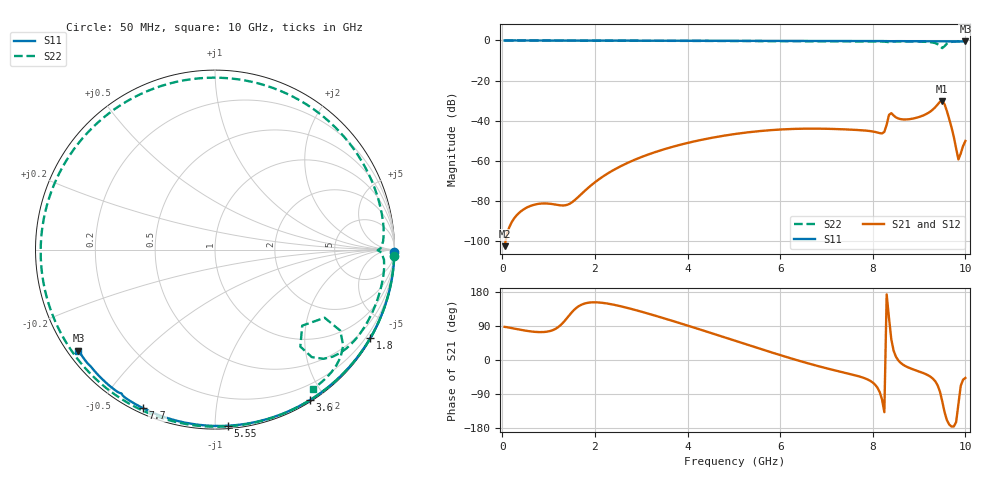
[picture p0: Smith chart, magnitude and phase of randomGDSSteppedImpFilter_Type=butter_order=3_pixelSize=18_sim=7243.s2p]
! freq	dB(S11)	phase(S11)	dB(S12)	phase(S12)
!  dB(S21)	phase(S21)	dB(S22)	phase(S22)
!S-par simulation data
#  GHz  S  DB  R 50
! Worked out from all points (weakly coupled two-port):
!   200 points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, 50 MHz to 10 GHz, reference 50 ohm
!   highest |S21| = -30.11 dB at 9.5 GHz (marker M1); lowest = -102.5 dB at 50 MHz (marker M2)
!   lowest |S11| = -0.5 dB at 10 GHz (marker M3), VSWR 36.13, Z = 1.53 - j16.5 ohm
!   |S11| at or under -10 dB: nowhere
!   |S22| runs from -3.8 to 0.0 dB; largest |S21 - S12| = 0
!   S11 on the Smith chart (normalised r, x): 50 MHz: open; 1.8 GHz: 0.03, -3.79; 3.6 GHz: 0.02, -1.82; 5.55 GHz: 0.02, -1.08; 7.7 GHz: 0.02, -0.64; 10 GHz: 0.03, -0.33
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0.05  -0.00 -0.8  -102.51 87.4  -102.51 87.4  -0.01 -2.0
1.5  -0.03 -24.7  -80.73 125.8  -80.73 125.8  -0.07 -58.8
1.75  -0.04 -28.7  -75.61 147.9  -75.61 147.9  -0.09 -68.5
1.8  -0.04 -29.5  -74.55 149.8  -74.55 149.8  -0.09 -70.4
2.6  -0.05 -42.2  -62.17 140.6  -62.17 140.6  -0.13 -101.1
3.4  -0.07 -54.6  -54.90 113.4  -54.90 113.4  -0.17 -132.2
3.6  -0.08 -57.6  -53.50 106.1  -53.50 106.1  -0.19 -140.2
4.35  -0.10 -68.7  -49.29 77.4  -49.29 77.4  -0.24 -170.9
5.05  -0.12 -78.8  -46.54 50.0  -46.54 50.0  -0.29 158.4
5.55  -0.14 -85.8  -45.18 30.3  -45.18 30.3  -0.33 135.1
6.15  -0.17 -94.1  -44.21 7.4  -44.21 7.4  -0.36 105.7
6.7  -0.20 -101.4  -43.94 -12.2  -43.94 -12.2  -0.38 77.9
7.7  -0.26 -114.5  -44.67 -43.0  -44.67 -43.0  -0.41 28.5
8.2  -0.31 -121.0  -46.35 -104.4  -46.35 -104.4  -0.50 5.1
8.25  -0.32 -121.7  -45.54 -137.7  -45.54 -137.7  -0.56 2.7
8.35  -0.39 -122.9  -37.10 111.7  -37.10 111.7  -0.85 -0.2
8.95  -0.38 -130.3  -38.49 -28.2  -38.49 -28.2  -0.54 -25.7
9.35  -0.43 -135.3  -33.24 -56.2  -33.24 -56.2  -1.34 -45.2
9.5  -0.44 -137.1  -30.11 -108.9  -30.11 -108.9  -3.81 -41.1
9.65  -0.44 -139.1  -39.11 -170.2  -39.11 -170.2  -0.99 -36.8
9.85  -0.46 -141.6  -59.31 -116.7  -59.31 -116.7  -0.49 -48.7
10  -0.48 -143.5  -50.11 -47.3  -50.11 -47.3  -0.46 -55.0
